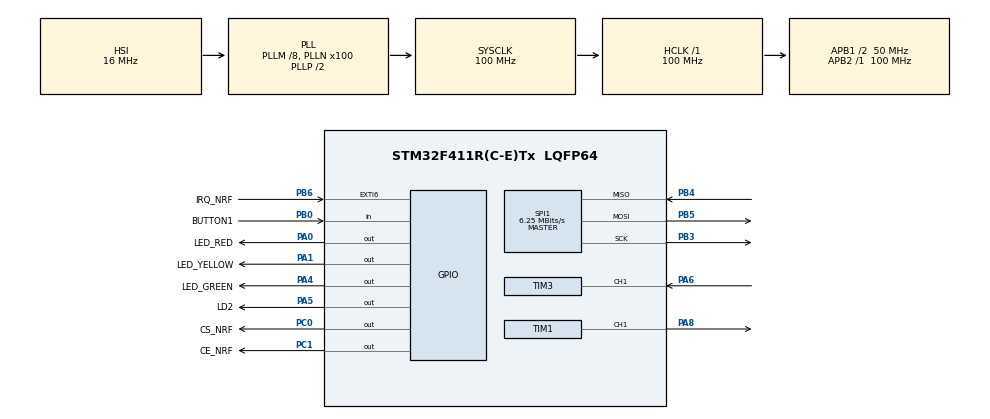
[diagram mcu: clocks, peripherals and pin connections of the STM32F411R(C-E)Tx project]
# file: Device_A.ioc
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IWDG.Prescaler=IWDG_PRESCALER_256
IWDG.Reload=1249
Mcu.Family=STM32F4
Mcu.Name=STM32F411R(C-E)Tx
Mcu.Package=LQFP64
NVIC.EXTI9_5_IRQn=true\:0\:0\:false\:false\:true\:true\:true\:true
NVIC.PriorityGroup=NVIC_PRIORITYGROUP_4
NVIC.TIM2_IRQn=true\:0\:0\:false\:false\:true\:true\:true\:true
NVIC.TIM3_IRQn=true\:0\:0\:false\:false\:true\:true\:true\:true
PA0-WKUP.GPIO_Label=LED_RED
PA0-WKUP.Signal=GPIO_Output
PA1.GPIO_Label=LED_YELLOW
PA1.Signal=GPIO_Output
PA13.Mode=Serial_Wire
PA13.Signal=SYS_JTMS-SWDIO
PA14.Mode=Serial_Wire
PA14.Signal=SYS_JTCK-SWCLK
PA4.GPIO_Label=LED_GREEN
PA4.Signal=GPIO_Output
PA5.GPIO_Label=LD2
PA5.Signal=GPIO_Output
PA6.Signal=S_TIM3_CH1
PA8.Signal=S_TIM1_CH1
PB0.GPIO_Label=BUTTON1
PB0.GPIO_PuPd=GPIO_PULLUP
PB0.Signal=GPIO_Input
PB3.Mode=Full_Duplex_Master
PB3.Signal=SPI1_SCK
PB4.Mode=Full_Duplex_Master
PB4.Signal=SPI1_MISO
PB5.Mode=Full_Duplex_Master
PB5.Signal=SPI1_MOSI
PB6.GPIO_Label=IRQ_NRF
PB6.GPIO_ModeDefaultEXTI=GPIO_MODE_IT_FALLING
PB6.Signal=GPXTI6
PC0.GPIO_Label=CS_NRF
PC0.Signal=GPIO_Output
PC1.GPIO_Label=CE_NRF
PC1.Signal=GPIO_Output
PH0\ -\ OSC_IN.Mode=HSE-External-Oscillator
PH0\ -\ OSC_IN.Signal=RCC_OSC_IN
PH1\ -\ OSC_OUT.Mode=HSE-External-Oscillator
PH1\ -\ OSC_OUT.Signal=RCC_OSC_OUT
ProjectManager.HeapSize=0x200
ProjectManager.StackSize=0x400
ProjectManager.TargetToolchain=STM32CubeIDE
RCC.48MHZClocksFreq_Value=50000000
RCC.AHBFreq_Value=100000000
RCC.APB1CLKDivider=RCC_HCLK_DIV2
RCC.APB1Freq_Value=50000000
RCC.APB1TimFreq_Value=100000000
RCC.APB2Freq_Value=100000000
RCC.APB2TimFreq_Value=100000000
RCC.CortexFreq_Value=100000000
RCC.HCLKFreq_Value=100000000
RCC.HSE_VALUE=25000000
RCC.HSI_VALUE=16000000
RCC.LSE_VALUE=32768
RCC.PLLM=8
RCC.PLLN=100
RCC.SYSCLKFreq_VALUE=100000000
RCC.SYSCLKSource=RCC_SYSCLKSOURCE_PLLCLK
RCC.VCOOutputFreq_Value=200000000
SH.S_TIM1_CH1.0=TIM1_CH1,PWM Generation1 CH1
SH.S_TIM3_CH1.0=TIM3_CH1,TriggerSource_TI1ED
SH.S_TIM3_CH1.1=TIM3_CH1,Input_Capture1_from_TI1
SPI1.BaudRatePrescaler=SPI_BAUDRATEPRESCALER_16
SPI1.CalculateBaudRate=6.25 MBits/s
SPI1.Direction=SPI_DIRECTION_2LINES
SPI1.Mode=SPI_MODE_MASTER
SPI1.VirtualType=VM_MASTER
TIM1.Channel-PWM\ Generation1\ CH1=TIM_CHANNEL_1
TIM1.Period=2631
TIM1.Pulse-PWM\ Generation1\ CH1=1315
TIM2.Prescaler=99
TIM3.Channel-Input_Capture1_from_TI1=TIM_CHANNEL_1
TIM3.ICPolarity_CH1=TIM_INPUTCHANNELPOLARITY_FALLING
TIM3.Prescaler=99
VP_CRC_VS_CRC.Mode=CRC_Activate
VP_IWDG_VS_IWDG.Mode=IWDG_Activate
VP_TIM2_VS_ClockSourceINT.Mode=Internal
VP_TIM3_VS_ClockSourceINT.Mode=Internal
VP_TIM3_VS_ControllerModeReset.Mode=Reset Mode
board=custom

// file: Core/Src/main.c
/* USER CODE BEGIN Header */
/**
  ******************************************************************************
  * @file           : main.c
  * @brief          : Main program body
  ******************************************************************************
  * @attention
  *
  * Copyright (c) 2024 STMicroelectronics.
  * All rights reserved.
  *
  * This software is licensed under terms that can be found in the LICENSE file
  * in the root directory of this software component.
  * If no LICENSE file comes with this software, it is provided AS-IS.
  *
  ******************************************************************************
  */
/* USER CODE END Header */
#include "main.h"

/* USER CODE BEGIN Includes */
#include "stdio.h"
#include "nRF24_Defs.h"
#include "nRF24.h"
#include "spi.h"
#include "ring_buffer.h"
#include "rsa_driver.h"
#include "ir_sender.h"
#include "ir_receiver.h"

/* USER CODE END Includes */

CRC_HandleTypeDef hcrc;

IWDG_HandleTypeDef hiwdg;

SPI_HandleTypeDef hspi1;

TIM_HandleTypeDef htim1;
TIM_HandleTypeDef htim2;
TIM_HandleTypeDef htim3;

/* USER CODE BEGIN PV */
//nRF variables
volatile uint8_t nrf24_rx_flag, nrf24_tx_flag, nrf24_mr_flag;

//IR variables
uint8_t command = 0xA;

uint32_t currentTime = 0;

uint32_t lastCommandTime = 0;
uint32_t lastREDLEDCommandTime = 0;
uint32_t lastYELLOWLEDCommandTime = 0;
//state variables
uint8_t transmission_step = 0;

int32_t rv_status = 0;
int32_t sd_status = 0;
uint8_t ir_send_counter = 0;
/* USER CODE END PV */

void SystemClock_Config(void);
static void MX_GPIO_Init(void);
static void MX_TIM1_Init(void);
static void MX_TIM2_Init(void);
static void MX_TIM3_Init(void);
static void MX_SPI1_Init(void);
static void MX_CRC_Init(void);
static void MX_IWDG_Init(void);
/* USER CODE BEGIN PFP */

void HAL_TIM_IC_CaptureCallback(TIM_HandleTypeDef *htim)
{
  if (htim == &htim3)
  {
    switch (HAL_TIM_GetActiveChannel(&htim3))
    {
      case HAL_TIM_ACTIVE_CHANNEL_1:
        ir_tim_interrupt();
        break;
      default:
        break;
    }
  }
}

void Error_Handler(void);
/* USER CODE END PFP */

int main(void)
{

  /* MCU Configuration--------------------------------------------------------*/

  /* Reset of all peripherals, Initializes the Flash interface and the Systick. */
  HAL_Init();

  /* Configure the system clock */
  SystemClock_Config();

  /* Initialize all configured peripherals */
  MX_GPIO_Init();
  MX_TIM1_Init();
  MX_TIM2_Init();
  MX_TIM3_Init();
  MX_SPI1_Init();
  MX_CRC_Init();
  MX_IWDG_Init();
  /* USER CODE BEGIN 2 */
  nRF24_Init(&hspi1);
  //RSA_Driver_getMessage();
    //RSA_Driver_init(0);

        //IR Config
        ir_sender_init();
        ir_receiver_init();
    /* Enable CRC clock */
    __CRC_CLK_ENABLE();

    nRF24_SetRXAddress(0,(uint8_t *)"Nad");
    nRF24_SetTXAddress((uint8_t *)"Nad");

    //LED indcator
    HAL_GPIO_WritePin(LED_RED_GPIO_Port, LED_RED_Pin, GPIO_PIN_SET);

  /* USER CODE END 2 */

  /* Infinite loop */
  /* USER CODE BEGIN WHILE */
  while (1)
  {

	  switch (transmission_step) {

	  case 0: {
		  HAL_IWDG_Refresh(&hiwdg);  // Refresh IWDG
	      if (HAL_GPIO_ReadPin(BUTTON1_GPIO_Port, BUTTON1_Pin) == GPIO_PIN_RESET) {
	          HAL_Delay(50); // Debouncing
	          if (HAL_GPIO_ReadPin(BUTTON1_GPIO_Port, BUTTON1_Pin) == GPIO_PIN_RESET) {
	              transmission_step = 1;
	          }
	      }
	      break;
	  }

	    case 1: {
	      currentTime = HAL_GetTick();  // Pobranie aktualnego czasu w ms
	      if ((currentTime - lastCommandTime) >= 300) {
	        NEC_SendCommand(command);       // Wysłanie komendy
	        lastCommandTime = currentTime;  // Aktualizacja czasu ostatniego wysłania
	      }

	      if ((currentTime - lastREDLEDCommandTime) >= 400) {
	      	        	    	  HAL_GPIO_TogglePin(LED_RED_GPIO_Port, LED_RED_Pin);
	      	        	    	lastREDLEDCommandTime = currentTime;
	      	        	      }

	      int value = ir_read();
	      if (value != -1) {
	        if (value == 12) {
	          HAL_IWDG_Refresh(&hiwdg);  // Refresh IWDG
	          HAL_GPIO_TogglePin(LD2_GPIO_Port, LD2_Pin);
	          //LED indicators
	          HAL_GPIO_WritePin(LED_RED_GPIO_Port, LED_RED_Pin, GPIO_PIN_SET);
	          transmission_step = 2;
	        }
	      }
	      break;
	    }

	    case 2: {
	      nRF24_RX_Mode();
	      transmission_step = 3;
	      break;
	    }

	    case 3: {

//	    currentTime = HAL_GetTick();
//	    	if ((currentTime - lastYELLOWLEDCommandTime) >= 400) {
//	    		HAL_GPIO_TogglePin(LED_YELLOW_GPIO_Port, LED_YELLOW_Pin);
//	    		lastYELLOWLEDCommandTime = currentTime;
//	    	}

	      rv_status = receive_message();
	      if (rv_status == 1) {
	    	HAL_GPIO_WritePin(LED_YELLOW_GPIO_Port, LED_YELLOW_Pin, GPIO_PIN_SET);
	        transmission_step = 4;
	      }

	      break;
	    }
	    case 4: {
	      nRF24_TX_Mode();
	      nRF24_SetRXAddress(0,(uint8_t *)"Nad");
	          //nRF24_SetTXAddress((uint8_t *)"Nad");
	      transmission_step = 5;
	      HAL_Delay(500);
	      break;
	    }

	    case 5: {

	      sd_status = send_message(50);
	      if (sd_status == 1) {
	    	HAL_GPIO_WritePin(LED_GREEN_GPIO_Port, LED_GREEN_Pin, GPIO_PIN_SET);
	        transmission_step = 6;
	      }
	      break;
	    }

	    case 6: {
	      HAL_Delay(5000);
	      //HAL_GPIO_WritePin(LED_RED_GPIO_Port, LED_GREEN_Pin, GPIO_PIN_SET);
	      HAL_GPIO_WritePin(LED_YELLOW_GPIO_Port, LED_YELLOW_Pin, GPIO_PIN_RESET);
	      HAL_GPIO_WritePin(LED_GREEN_GPIO_Port, LED_GREEN_Pin, GPIO_PIN_RESET);
	      transmission_step = 7;
	      break;
	    }

	    case 7: {
	    	      transmission_step = 0;
	    	      break;
	    	    }
	  }

    /* USER CODE END WHILE */

  }
}

void SystemClock_Config(void)
{
  RCC_OscInitTypeDef RCC_OscInitStruct = {0};
  RCC_ClkInitTypeDef RCC_ClkInitStruct = {0};

  /** Configure the main internal regulator output voltage
  */
  __HAL_RCC_PWR_CLK_ENABLE();
  __HAL_PWR_VOLTAGESCALING_CONFIG(PWR_REGULATOR_VOLTAGE_SCALE1);

  /** Initializes the RCC Oscillators according to the specified parameters
  * in the RCC_OscInitTypeDef structure.
  */
  RCC_OscInitStruct.OscillatorType = RCC_OSCILLATORTYPE_HSI|RCC_OSCILLATORTYPE_LSI;
  RCC_OscInitStruct.HSIState = RCC_HSI_ON;
  RCC_OscInitStruct.HSICalibrationValue = RCC_HSICALIBRATION_DEFAULT;
  RCC_OscInitStruct.LSIState = RCC_LSI_ON;
  RCC_OscInitStruct.PLL.PLLState = RCC_PLL_ON;
  RCC_OscInitStruct.PLL.PLLSource = RCC_PLLSOURCE_HSI;
  RCC_OscInitStruct.PLL.PLLM = 8;
  RCC_OscInitStruct.PLL.PLLN = 100;
  RCC_OscInitStruct.PLL.PLLP = RCC_PLLP_DIV2;
  RCC_OscInitStruct.PLL.PLLQ = 4;
  if (HAL_RCC_OscConfig(&RCC_OscInitStruct) != HAL_OK)
  {
    Error_Handler();
  }

  /** Initializes the CPU, AHB and APB buses clocks
  */
  RCC_ClkInitStruct.ClockType = RCC_CLOCKTYPE_HCLK|RCC_CLOCKTYPE_SYSCLK
                              |RCC_CLOCKTYPE_PCLK1|RCC_CLOCKTYPE_PCLK2;
  RCC_ClkInitStruct.SYSCLKSource = RCC_SYSCLKSOURCE_PLLCLK;
  RCC_ClkInitStruct.AHBCLKDivider = RCC_SYSCLK_DIV1;
  RCC_ClkInitStruct.APB1CLKDivider = RCC_HCLK_DIV2;
  RCC_ClkInitStruct.APB2CLKDivider = RCC_HCLK_DIV1;

  if (HAL_RCC_ClockConfig(&RCC_ClkInitStruct, FLASH_LATENCY_3) != HAL_OK)
  {
    Error_Handler();
  }
}

static void MX_CRC_Init(void)
{

  hcrc.Instance = CRC;
  if (HAL_CRC_Init(&hcrc) != HAL_OK)
  {
    Error_Handler();
  }

}

static void MX_IWDG_Init(void)
{

  hiwdg.Instance = IWDG;
  hiwdg.Init.Prescaler = IWDG_PRESCALER_256;
  hiwdg.Init.Reload = 1249;
  if (HAL_IWDG_Init(&hiwdg) != HAL_OK)
  {
    Error_Handler();
  }

}

static void MX_SPI1_Init(void)
{

  /* SPI1 parameter configuration*/
  hspi1.Instance = SPI1;
  hspi1.Init.Mode = SPI_MODE_MASTER;
  hspi1.Init.Direction = SPI_DIRECTION_2LINES;
  hspi1.Init.DataSize = SPI_DATASIZE_8BIT;
  hspi1.Init.CLKPolarity = SPI_POLARITY_LOW;
  hspi1.Init.CLKPhase = SPI_PHASE_1EDGE;
  hspi1.Init.NSS = SPI_NSS_SOFT;
  hspi1.Init.BaudRatePrescaler = SPI_BAUDRATEPRESCALER_16;
  hspi1.Init.FirstBit = SPI_FIRSTBIT_MSB;
  hspi1.Init.TIMode = SPI_TIMODE_DISABLE;
  hspi1.Init.CRCCalculation = SPI_CRCCALCULATION_DISABLE;
  hspi1.Init.CRCPolynomial = 10;
  if (HAL_SPI_Init(&hspi1) != HAL_OK)
  {
    Error_Handler();
  }

}

static void MX_TIM1_Init(void)
{

  TIM_MasterConfigTypeDef sMasterConfig = {0};
  TIM_OC_InitTypeDef sConfigOC = {0};
  TIM_BreakDeadTimeConfigTypeDef sBreakDeadTimeConfig = {0};

  htim1.Instance = TIM1;
  htim1.Init.Prescaler = 0;
  htim1.Init.CounterMode = TIM_COUNTERMODE_UP;
  htim1.Init.Period = 2631;
  htim1.Init.ClockDivision = TIM_CLOCKDIVISION_DIV1;
  htim1.Init.RepetitionCounter = 0;
  htim1.Init.AutoReloadPreload = TIM_AUTORELOAD_PRELOAD_DISABLE;
  if (HAL_TIM_PWM_Init(&htim1) != HAL_OK)
  {
    Error_Handler();
  }
  sMasterConfig.MasterOutputTrigger = TIM_TRGO_RESET;
  sMasterConfig.MasterSlaveMode = TIM_MASTERSLAVEMODE_DISABLE;
  if (HAL_TIMEx_MasterConfigSynchronization(&htim1, &sMasterConfig) != HAL_OK)
  {
    Error_Handler();
  }
  sConfigOC.OCMode = TIM_OCMODE_PWM1;
  sConfigOC.Pulse = 1315;
  sConfigOC.OCPolarity = TIM_OCPOLARITY_HIGH;
  sConfigOC.OCNPolarity = TIM_OCNPOLARITY_HIGH;
  sConfigOC.OCFastMode = TIM_OCFAST_DISABLE;
  sConfigOC.OCIdleState = TIM_OCIDLESTATE_RESET;
  sConfigOC.OCNIdleState = TIM_OCNIDLESTATE_RESET;
  if (HAL_TIM_PWM_ConfigChannel(&htim1, &sConfigOC, TIM_CHANNEL_1) != HAL_OK)
  {
    Error_Handler();
  }
  sBreakDeadTimeConfig.OffStateRunMode = TIM_OSSR_DISABLE;
  sBreakDeadTimeConfig.OffStateIDLEMode = TIM_OSSI_DISABLE;
  sBreakDeadTimeConfig.LockLevel = TIM_LOCKLEVEL_OFF;
  sBreakDeadTimeConfig.DeadTime = 0;
  sBreakDeadTimeConfig.BreakState = TIM_BREAK_DISABLE;
  sBreakDeadTimeConfig.BreakPolarity = TIM_BREAKPOLARITY_HIGH;
  sBreakDeadTimeConfig.AutomaticOutput = TIM_AUTOMATICOUTPUT_DISABLE;
  if (HAL_TIMEx_ConfigBreakDeadTime(&htim1, &sBreakDeadTimeConfig) != HAL_OK)
  {
    Error_Handler();
  }
  HAL_TIM_MspPostInit(&htim1);

}

static void MX_TIM2_Init(void)
{

  TIM_ClockConfigTypeDef sClockSourceConfig = {0};
  TIM_MasterConfigTypeDef sMasterConfig = {0};

  htim2.Instance = TIM2;
  htim2.Init.Prescaler = 99;
  htim2.Init.CounterMode = TIM_COUNTERMODE_UP;
  htim2.Init.Period = 4294967295;
  htim2.Init.ClockDivision = TIM_CLOCKDIVISION_DIV1;
  htim2.Init.AutoReloadPreload = TIM_AUTORELOAD_PRELOAD_DISABLE;
  if (HAL_TIM_Base_Init(&htim2) != HAL_OK)
  {
    Error_Handler();
  }
  sClockSourceConfig.ClockSource = TIM_CLOCKSOURCE_INTERNAL;
  if (HAL_TIM_ConfigClockSource(&htim2, &sClockSourceConfig) != HAL_OK)
  {
    Error_Handler();
  }
  sMasterConfig.MasterOutputTrigger = TIM_TRGO_RESET;
  sMasterConfig.MasterSlaveMode = TIM_MASTERSLAVEMODE_DISABLE;
  if (HAL_TIMEx_MasterConfigSynchronization(&htim2, &sMasterConfig) != HAL_OK)
  {
    Error_Handler();
  }

}

static void MX_TIM3_Init(void)
{

  TIM_ClockConfigTypeDef sClockSourceConfig = {0};
  TIM_SlaveConfigTypeDef sSlaveConfig = {0};
  TIM_MasterConfigTypeDef sMasterConfig = {0};
  TIM_IC_InitTypeDef sConfigIC = {0};

  htim3.Instance = TIM3;
  htim3.Init.Prescaler = 99;
  htim3.Init.CounterMode = TIM_COUNTERMODE_UP;
  htim3.Init.Period = 65535;
  htim3.Init.ClockDivision = TIM_CLOCKDIVISION_DIV1;
  htim3.Init.AutoReloadPreload = TIM_AUTORELOAD_PRELOAD_DISABLE;
  if (HAL_TIM_Base_Init(&htim3) != HAL_OK)
  {
    Error_Handler();
  }
  sClockSourceConfig.ClockSource = TIM_CLOCKSOURCE_INTERNAL;
  if (HAL_TIM_ConfigClockSource(&htim3, &sClockSourceConfig) != HAL_OK)
  {
    Error_Handler();
  }
  if (HAL_TIM_IC_Init(&htim3) != HAL_OK)
  {
    Error_Handler();
  }
  sSlaveConfig.SlaveMode = TIM_SLAVEMODE_RESET;
  sSlaveConfig.InputTrigger = TIM_TS_TI1F_ED;
  sSlaveConfig.TriggerPolarity = TIM_INPUTCHANNELPOLARITY_RISING;
  sSlaveConfig.TriggerFilter = 0;
  if (HAL_TIM_SlaveConfigSynchro(&htim3, &sSlaveConfig) != HAL_OK)
  {
    Error_Handler();
  }
  sMasterConfig.MasterOutputTrigger = TIM_TRGO_RESET;
  sMasterConfig.MasterSlaveMode = TIM_MASTERSLAVEMODE_DISABLE;
  if (HAL_TIMEx_MasterConfigSynchronization(&htim3, &sMasterConfig) != HAL_OK)
  {
    Error_Handler();
  }
  sConfigIC.ICPolarity = TIM_INPUTCHANNELPOLARITY_FALLING;
  sConfigIC.ICSelection = TIM_ICSELECTION_DIRECTTI;
  sConfigIC.ICPrescaler = TIM_ICPSC_DIV1;
  sConfigIC.ICFilter = 0;
  if (HAL_TIM_IC_ConfigChannel(&htim3, &sConfigIC, TIM_CHANNEL_1) != HAL_OK)
  {
    Error_Handler();
  }

}

static void MX_GPIO_Init(void)
{
  GPIO_InitTypeDef GPIO_InitStruct = {0};

  /* GPIO Ports Clock Enable */
  __HAL_RCC_GPIOH_CLK_ENABLE();
  __HAL_RCC_GPIOC_CLK_ENABLE();
  __HAL_RCC_GPIOA_CLK_ENABLE();
  __HAL_RCC_GPIOB_CLK_ENABLE();

  /*Configure GPIO pin Output Level */
  HAL_GPIO_WritePin(GPIOC, CS_NRF_Pin|CE_NRF_Pin, GPIO_PIN_RESET);

  /*Configure GPIO pin Output Level */
  HAL_GPIO_WritePin(GPIOA, LED_RED_Pin|LED_YELLOW_Pin|LED_GREEN_Pin|LD2_Pin, GPIO_PIN_RESET);

  /*Configure GPIO pins : CS_NRF_Pin CE_NRF_Pin */
  GPIO_InitStruct.Pin = CS_NRF_Pin|CE_NRF_Pin;
  GPIO_InitStruct.Mode = GPIO_MODE_OUTPUT_PP;
  GPIO_InitStruct.Pull = GPIO_NOPULL;
  GPIO_InitStruct.Speed = GPIO_SPEED_FREQ_LOW;
  HAL_GPIO_Init(GPIOC, &GPIO_InitStruct);

  /*Configure GPIO pins : LED_RED_Pin LED_YELLOW_Pin LED_GREEN_Pin LD2_Pin */
  GPIO_InitStruct.Pin = LED_RED_Pin|LED_YELLOW_Pin|LED_GREEN_Pin|LD2_Pin;
  GPIO_InitStruct.Mode = GPIO_MODE_OUTPUT_PP;
  GPIO_InitStruct.Pull = GPIO_NOPULL;
  GPIO_InitStruct.Speed = GPIO_SPEED_FREQ_LOW;
  HAL_GPIO_Init(GPIOA, &GPIO_InitStruct);

  /*Configure GPIO pin : BUTTON1_Pin */
  GPIO_InitStruct.Pin = BUTTON1_Pin;
  GPIO_InitStruct.Mode = GPIO_MODE_INPUT;
  GPIO_InitStruct.Pull = GPIO_PULLUP;
  HAL_GPIO_Init(BUTTON1_GPIO_Port, &GPIO_InitStruct);

  /*Configure GPIO pin : IRQ_NRF_Pin */
  GPIO_InitStruct.Pin = IRQ_NRF_Pin;
  GPIO_InitStruct.Mode = GPIO_MODE_IT_FALLING;
  GPIO_InitStruct.Pull = GPIO_NOPULL;
  HAL_GPIO_Init(IRQ_NRF_GPIO_Port, &GPIO_InitStruct);

  /* EXTI interrupt init*/
  HAL_NVIC_SetPriority(EXTI9_5_IRQn, 0, 0);
  HAL_NVIC_EnableIRQ(EXTI9_5_IRQn);

}

void Error_Handler(void)
{
  __disable_irq();
  while (1)
  {
  }
}
